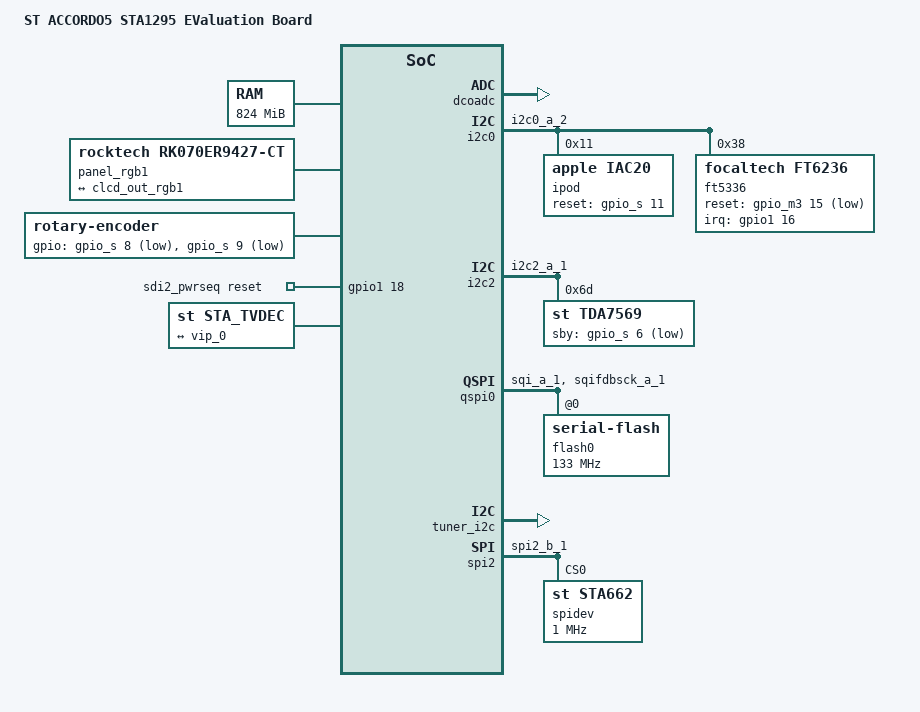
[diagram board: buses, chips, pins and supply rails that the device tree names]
/*
 * Copyright (C) 2016 STMicroelectronics
 * Author: Jean-Nicolas Graux <jean-nicolas.graux@st.com>
 *
 * This program is free software; you can redistribute it and/or modify
 * it under the terms of the GNU General Public License version 2, as
 * published by the Free Software Foundation.
 */

/dts-v1/;
#include "sta1295.dtsi"
#include "ste-nomadik-pinctrl.dtsi"
#include "sta1295-audio.dtsi"

/ {
	model = "ST ACCORDO5 STA1295 EValuation Board";
	compatible = "st,sta1295";

	chosen {
		bootargs = "console=ttyAMA2,115200n8 console=tty0 consoleblank=0
			root=/dev/mmcblk1p1 rootfstype=ext4 rw rootwait quiet earlyprintk
			systemd.gpt_auto=0 coherent_pool=4M";
	};

	memory {
		reg = <0xa0000000 0x33800000>;	/* 192MiB reserved for GPU
						 * 3MiB for Camera
						 * 4MiB for Splash animation
						 *  (mjpeg + dyn. alloc area)
						 * 1MiB for Splash screen
						 */
	};

	soc {
		can0: c_can@40010000 {
			pinctrl-names = "default", "sleep";
			pinctrl-0 = <&can0_default_mux>;
			pinctrl-1 = <&can0_default_mux>;
			status = "disabled";
		};

		can1: m_can@50183000 {
			pinctrl-names = "default", "sleep";
			pinctrl-0 = <&can1_default_mux>;
			pinctrl-1 = <&can1_default_mux>;
		};

		can2: m_can@50183400 {
			pinctrl-names = "default", "sleep";
			pinctrl-0 = <&can2_default_mux>;
			pinctrl-1 = <&can2_default_mux>;
		};

		dcoadc: adc-keys@481c0000 {
			status = "okay";
			key2 {
				st,adc-channel = <5>;
				st,key-code = <106>; /* Right */
			};
			key1 {
				st,adc-channel = <4>;
				st,key-code = <105>; /* Left */
			};
		};

		ethernet0: dwmac@500a0000 {
			pinctrl-names = "default", "sleep";
			pinctrl-0 = <&eth_default_mux>;
			pinctrl-1 = <&eth_default_mux>;
			snps,reset-gpio = <&gpio1 3 0>;
			snps,reset-active-low;
			snps,reset-delays-us = <100 100 100>;
			phy-mode = "rgmii";
			mac-address = [00 00 00 00 00 00];  /* Filled by U-boot */
			rxc-skew-ps = <1500>;
			txd1-skew-ps = <1320>;
		};

		fsmc: flash@80000000 {
			pinctrl-names = "default", "sleep";
			pinctrl-0 = <&fsmc_default_mux>;
			pinctrl-1 = <&fsmc_default_mux>;
		};

		gpio_m3: gpio@40008000 {
			reserved-gpios = <0x00000001>;
		};

		i2c0: i2c@50160000 {
			pinctrl-names = "default", "sleep";
			pinctrl-0 = <&i2c0_default_mux>;
			pinctrl-1 = <&i2c0_default_mux>;
			/**
			 * Embedded iPod Authentication Coprocessor 2.0C driver
			 */
			ipod: iac20@11 {
				compatible= "apple,iac20";
				reg= <0x11>;
				reset-gpio = <&gpio_s 11 0>;
			};
			/**
			 * Touch panel used in 7 inch LCD display from
			 * Multi-Inno Model NO. MI0700SAT3.
			 */
			ft5336: ft5336@38 {
				compatible = "focaltech,ft6236";
				reg = <0x38>;
				interrupt-parent = <&gpio1>;
				interrupts = <16 0>;
				reset-gpio = <&gpio_m3 15 1>;
				touchscreen-size-x = <800>;
				touchscreen-size-y = <480>;
				touchscreen-inverted-y;
			};
			/**
			 * Touch panel used in 10 inch LCD display from
			 * EVERVISION Model NO. VGG128004-5TSLWH.
			 */
			ft5x26: ft5x26@38 {
				status = "disabled";
				compatible = "edt,edt-ft5506";
				reg = <0x38>;
				interrupt-parent = <&gpio1>;
				interrupts = <16 0>;
				reset-gpio = <&gpio_m3 15 1>;
				touchscreen-size-x = <2048>;
				touchscreen-size-y = <2048>;
				touchscreen-swapped-x-y;
			};
			/**
			 * Touch panel used in 7 inch LCD display from
			 * Ampire Model AM-1280800P2TZQW-T01H.
			 */
			exc3132: exc3132@2a {
				status = "disabled";
				compatible = "ampire,exc3132";
				reg = <0x2a>;
				interrupt-parent = <&gpio1>;
				interrupts = <16 IRQ_TYPE_EDGE_FALLING>;
				reset-gpio = <&gpio_m3 15 1>;
			};
			hdmi0: adv7513@39 {
				status = "disabled";
				compatible = "adi,adv7513";
				reg = <0x39>;
				interrupt-parent = <&gpio1>;
				interrupts = <2 IRQ_TYPE_EDGE_FALLING>;

				adi,input-depth = <8>;
				adi,input-colorspace = "rgb";
				adi,input-clock = "1x";

				adi,edid-i2c-address = <0x3b>;
				adi,packet-i2c-address = <0x34>;
				adi,cec-i2c-address = <0x40>;

				ports {
					#address-cells = <1>;
					#size-cells = <0>;

					port@0 {
						reg = <0>;
						adv7513_in: endpoint {
							remote-endpoint = <&clcd_out_hdmi1>;
						};
					};

					port@1 {
						reg = <1>;
					};
				};
			};
		};

		i2c1: i2c@50040000 {
			pinctrl-names = "default", "sleep";
			pinctrl-0 = <&i2c1_default_mux>;
			pinctrl-1 = <&i2c1_default_mux>;
		};

		i2c2: i2c@50030000 {
			pinctrl-names = "default", "sleep";
			pinctrl-0 = <&i2c2_default_mux>;
			pinctrl-1 = <&i2c2_default_mux>;
			/* TDA7569 Audio Amplifier 0x6D */
			tda7569: tda7569@0x6d{
				compatible = "st,tda7569";
				codec-dai-name = "tda7569";
				reg = <0x6D>;
				gain = <26>;
				clip = <2>;
				sby-gpio = <&gpio_s 6 1>;
				};
			adv7182: adv7182@20 {
				status = "disabled";
				compatible = "adi,adv7182";
				interrupt-parent = <&gpio1>;
				interrupts = <5 IRQ_TYPE_LEVEL_LOW>;
				reg = <0x20>;
				port {
					adv7182_1: endpoint {
						bus-width = <8>;
						remote-endpoint = <&vip_0>;
						data-active = <1>;
						pclk-sample = <1>;
					};
				};
			};
		};

		msp0: msp@48000000 {
			pinctrl-names = "default", "sleep";
			pinctrl-0 = <&i2s0_default_mux>;
			pinctrl-1 = <&i2s0_default_mux>;
		};

		panel_rgb1: panel-rgb1 {
			compatible = "rocktech,rk070er9427-ct";

			port {
				panel_rgb1_in: panel-rgb1-in {
					remote-endpoint = <&clcd_out_rgb1>;
				};
			};
		};

		panel_rgb2: panel-rgb2 {
			status = "disabled";
			compatible = "rocktech,rk070er9427-ct";

			port {
				panel_rgb2_in: panel-rgb2-in {
					remote-endpoint = <&clcd_out_rgb2>;
				};
			};
		};

		qspi0: sqi@50200000 {
			status = "okay";
			pinctrl-names = "default", "sleep";
			pinctrl-0 = <&sqi_default_mux>;
			pinctrl-1 = <&sqi_default_mux>;

			flash0: serial-flash@0 {
				#address-cells = <1>;
				#size-cells = <1>;
				spi-max-frequency = <133000000>;
			};
		};

		rotary: rotary@0 {
			compatible = "rotary-encoder";
			pinctrl-names = "default", "sleep";
			pinctrl-0 = <&rotary_default_mode>;
			pinctrl-1 = <&rotary_default_mode>;
			gpios = <&gpio_s 8 1>, <&gpio_s 9 1>;
			linux,axis = <1>;
			rotary-encoder,relative-axis;
		};

		rproc {
			system_resources {
				tuner_i2c {
					compatible = "rproc-srm-sta-dev";
					st,shared-dev = <&i2c1>;
				};
			};
		};

		sai1: sai@48D08C00 {
			status = "disabled";
			pinctrl-names = "default", "sleep";
			pinctrl-0 = <&sai1_default_mux>;
			pinctrl-1 = <&sai1_default_mux>;
		};

		sai2: sai@48D08C04 {
			status = "disabled";
			pinctrl-names = "default", "sleep";
			pinctrl-0 = <&sai2_default_mux>;
			pinctrl-1 = <&sai2_default_mux>;
		};

		sai3: sai@48D08C08 {
			status = "disabled";
			pinctrl-names = "default", "sleep";
			pinctrl-0 = <&sai3_default_mux>;
			pinctrl-1 = <&sai3_default_mux>;
		};

		sai4: sai@48D08C0C {
			pinctrl-names = "default", "sleep";
			pinctrl-0 = <&sai4_default_mux>;
			pinctrl-1 = <&sai4_default_mux>;
		};

		sdi0: sdi@50080000 {
			pinctrl-names = "default", "sleep";
			pinctrl-0 = <&sdi0_default_mux>;
			pinctrl-1 = <&sdi0_default_mux>;
		};

		sdi1: sdi@50070000 {
			pinctrl-names = "default", "sleep";
			pinctrl-0 = <&sdi1_default_mux>;
			pinctrl-1 = <&sdi1_default_mux>;
			bus-width = <4>;
			max-frequency = <50000000>;
			st,sig-pin-fbclk;
			st,fbclk-inverted;
			cd-gpios = <&gpio_m3 4 0>;
			cd-inverted;
		};

		sdi2_pwrseq: sdi2_pwrseq {
			compatible = "mmc-pwrseq-simple";
			reset-gpios = <&gpio1 18 0>;
		};

		sdi2: sdi@500B0000 {
			pinctrl-names = "default", "sleep";
			pinctrl-0 = <&sdi2_default_mux>;
			pinctrl-1 = <&sdi2_default_mux>;
			max-frequency = <50000000>;
			st,sig-pin-fbclk;
			st,fbclk-inverted;
			broken-cd;
			mmc-pwrseq = <&sdi2_pwrseq>;
			/* disabled because in competition with the fsmc */
			status = "disabled";
		};

		/* Adds a codec dai for TDA7569 Audio Amp to soundcard3 */
		sound_card3 {
			st,cpu-name = "snd-soc-dummy", "snd-soc-dummy", "snd-soc-dummy";
			st,audio-codec = <&codec_aif &codec_dsp &tda7569>;
			st,codec-dai-name = "st-codec-aif", "st-codec-dsp", "tda7569";
		};

		spi0: spi@50170000 {
			status = "disabled";
		};

		spi1: spi@50060000 {
			status = "disabled";
		};

		spi2: spi@50050000 {
			pinctrl-names = "default", "sleep";
			pinctrl-0 = <&spi2_default_mux>;
			pinctrl-1 = <&spi2_default_mux>;
			num-cs = <1>;
			spidev@0 {
				compatible = "st,sta662";
				spi-max-frequency = <1000000>;
				reg = <0>;
				spi-cpol;
				spi-cpha;
				pl022,hierarchy = <0>;
				pl022,interface = <0>;
				pl022,duplex = <0>;
			};
		};

		sta-display-subsystem {
			pinctrl-names = "default", "sleep";
			pinctrl-0 = <&clcd_default_mux>;
			pinctrl-1 = <&clcd_default_mux>;
			clcd@48600000 {
				port {
					clcd_out_rgb1: clcd-out-rgb1 {
						remote-endpoint = <&panel_rgb1_in>;
					};
					clcd_out_rgb2: clcd-out-rgb2 {
						remote-endpoint = <&panel_rgb2_in>;
					};
					clcd_out_hdmi1: clcd-out-hdmi1 {
						remote-endpoint = <&adv7513_in>;
					};
				};
			};
		};

		tvdec: tvdec {
			compatible = "st,sta_tvdec";
			port {
				tvdec_1: endpoint {
					remote-endpoint = <&vip_0>;
				};
			};
		};

		uart0: uart@50150000 {
			pinctrl-names = "default", "sleep";
			pinctrl-0 = <&uart0_default_mux>;
			pinctrl-1 = <&uart0_default_mux>;
		};

		uart1: uart@50000000 {
			pinctrl-names = "default", "sleep";
			pinctrl-0 = <&uart1_default_mux>;
			pinctrl-1 = <&uart1_default_mux>;
		};

		uart2: uart@50010000 {
			status = "disabled";
		};

		uart3: uart@50020000 {
			pinctrl-names = "default", "sleep";
			pinctrl-0 = <&uart3_default_mux>;
			pinctrl-1 = <&uart3_default_mux>;
		};

		usb0: usb@48400000 {
			st,vbus_sensing_gadget;
			st,vbus_raw_limit = <0x300>;
			io-channels = <&saradc 4>;
		};

		usb1: usb@48500000 {
			st,vbus_sensing_gadget;
			st,vbus_raw_limit = <0x300>;
			io-channels = <&saradc 5>;
		};

		usbphy: usb-phy@48440000 {
			pinctrl-names = "default", "sleep";
			pinctrl-0 = <&drvvbus_default_mux>;
			pinctrl-1 = <&drvvbus_default_mux>;
			st,usb0_mode = "HOST";
			st,usb0_cdp;
			st,usb1_mode = "DEVICE";
			st,usb1_cdp;
		};

		vip: vip@48800000 {
			input = <0x2>;
			pinctrl-names = "default", "sleep";
			pinctrl-0 = <&vip_default_mux>;
			pinctrl-1 = <&vip_default_mux>;
			port {
				#address-cells = <1>;
				#size-cells = <0>;

				vip_0: endpoint {
					remote-endpoint = <&tvdec_1>;
					bus-width = <8>;
					data-active = <1>; /* Active high */
					pclk-sample = <1>; /* Rising */
				};
			};
		};

		pinctrl {
			can0 {
				can0_default_mux: can_mux {
					default_mux {
						function = "can0";
						groups = "can0_a_1";
					};
				};
			};
			can1 {
				can1_default_mux: can_mux {
					default_mux {
						function = "can1";
						groups = "can1_c_1";
					};
				};
			};
			can2 {
				can2_default_mux: can_mux {
					default_mux {
						function = "can2";
						groups = "can2_c_1";
					};
				};
			};
			clcd {
				clcd_default_mux: clcd_mux {
					default_mux {
						function = "clcd";
						groups = "clcd_a_1";
					};
				};
			};
			eft3 {
				eft3_default_mux: eft3_mux {
					default_mux {
						function = "eft3";
						groups = "eft3ocmp0_a_1";
					};
				};
			};
			eft4 {
				eft4_default_mux: eft_mux {
					default_mux {
						function = "eft4";
						groups = "eft4extck_c_1";
					};
				};
			};
			eth {
				eth_default_mux: eth_mux {
					default_mux {
						function = "eth";
						groups = "ethmdio_a_1",
							"ethmdc_a_1",
							"ethrmii_a_1",
							/* Rx Clock for RMII & RGMII */
							"ethmiirxclk_b_1",
							/* Tx Clock for RGMII */
							"ethmiitxclk_a_1",
							"ethmii_a_1";
					};
				};
			};
			fsmc {
				fsmc_default_mux: fsmc_mux {
					default_mux {
						function = "fsmc";
						groups = "fsmcsmadq0to7_a_1",
							"fsmcwpn_a_1",
							"fsmcbusy_a_1",
							"fsmcoen_a_1",
							"fsmcwen_a_1",
							"fsmcsmad17ale_a_1",
							"fsmcsmad16cle_a_1",
							"fsmcnandcs0n_a_1";
					};
				};
			};
			i2c0 {
				i2c0_default_mux: i2c_mux {
					default_mux {
						function = "i2c0";
						groups = "i2c0_a_2";
					};
				};
			};
			i2c1 {
				i2c1_default_mux: i2c_mux {
					default_mux {
						function = "i2c1";
						groups = "i2c1_a_1";
					};
				};
			};
			i2c2 {
				i2c2_default_mux: i2c_mux {
					default_mux {
						function = "i2c2";
						groups = "i2c2_a_1";
					};
				};
			};
			i2s0 {
				i2s0_default_mux: i2s_mux {
					default_mux {
						function = "i2s0";
						groups = "i2s0_a_1",
							"i2s0tx_a_1";
					};
				};
			};
			i2s2 {
				i2s2_default_mux: i2s_mux {
					default_mux {
						function = "i2s2";
						groups = "i2s2_c_1";
					};
				};
			};
			rotary {
				rotary_default_mode: rotary_default {
					default_cfg {
						pins = "GPIO136", "GPIO137";
						ste,config = <&in_nopull>;
					};
				};
			};
			sqi {
				sqi_default_mux: sqi_mux {
					default_mux {
						function = "sqi";
						groups = "sqi_a_1",
							"sqifdbsck_a_1";
					};
				};
			};
			sai1 {
				sai1_default_mux: sai_mux {
					default_mux {
						function = "sai1";
						groups = "sai1_a_1";
					};
				};
			};
			sai2 {
				sai2_default_mux: sai_mux {
					default_mux {
						function = "sai2";
						groups = "sai2_a_1";
					};
				};
			};
			sai3 {
				sai3_default_mux: sai_mux {
					default_mux {
						function = "sai3";
						groups = "sai3bclk_a_1",
						"sai3fs_a_1",
						"sai3rx0_a_1",
						"sai3rx1_a_1",
						"sai3rx2_a_1";
					};
				};
			};
			sai4 {
				sai4_default_mux: sai_mux {
					default_mux {
						function = "sai4";
						groups = "sai4bclk_c_1",
							"sai4fs_c_1",
							"sai4rx0_c_1",
							"sai4rx1_c_1";
					};
				};
			};
			sdi0 {
				sdi0_default_mux: sdi_mux {
					default_mux {
						function = "mc0";
						groups = "mc0fbclk_b_1";
					};
				};
			};
			sdi1 {
				sdi1_default_mux: sdi_mux {
					default_mux {
						function = "mc1";
						groups = "mc1cmd_a_1",
							"mc1clk_a_1",
							"mc1dat0_a_1",
							"mc1dat123_b_1",
							"mc1fbclk_c_1";
					};
					default_cfg {
						pins = "GPIO164";
						ste,config = <&in_pu>;
					};
				};
			};
			sdi2 {
				sdi2_default_mux: sdi_mux {
					default_mux {
						function = "mc2";
						groups = "mc2_b_1",
							"mc2data4to7_b_1",
							"mc2fbclk_b_1";
					};
				};
			};
			spi1 {
				spi1_default_mux: spi_mux {
					default_mux {
						function = "spi1";
						groups = "spi1_a_1";
						/* groups = "spi1ss_a_1",
							"spi1_a_1"; */
					};
				};
			};
			spi2 {
				spi2_default_mux: spi_mux {
					default_mux {
						function = "spi2";
						groups = "spi2_b_1";
						/* groups = "spi2ss_c_1",
							"spi2_b_1"; */
					};
				};
			};
			uart0 {
				uart0_default_mux: uart_mux {
					default_mux {
						function = "u0";
						groups = "u0rxtx_a_1",
							"u0rtscts_a_1";
					};
				};
			};
			uart1 {
				uart1_default_mux: uart_mux {
					default_mux {
						function = "u1";
						groups = "u1rxtx_b_1";
					};
					/*
					 *  Disable pull resistor of uart1 rx pin by default
					 *  as it may prevent initial handshake with some
					 *  remote device (like Teseo chip) to work properly.
					 */
					default_cfg {
						pins = "GPIO29";
						ste,config = <&in_nopull>;
					};
				};
			};
			uart3 {
				uart3_default_mux: uart_mux {
					default_mux {
						function = "u3";
						groups = "u3rxtx_a_1";
					};
				};
			};
			usbphy {
				drvvbus_default_mux: drvvbus_default_mux {
					default_mux {
						function = "usb";
						groups = "usb0drvvbus_b_1",
							 "usb1drvvbus_c_1";
					};
				};
			};
			vip {
				vip_default_mux: vip_mux {
					default_mux {
						function = "vip";
						groups = "vip_a_1";
					};
				};
			};
			wdg {
				wdg_default_mux: wdg_mux {
					default_mux {
						function = "wdg";
						groups = "wdgswrstout_a_1";
					};
				};
			};
		};
	};
};
